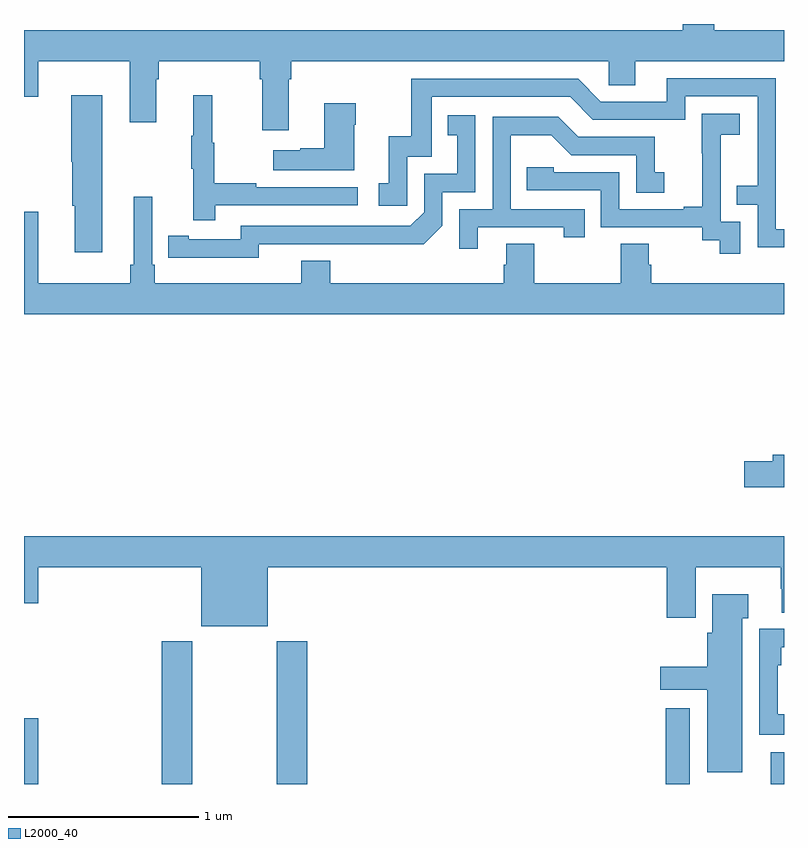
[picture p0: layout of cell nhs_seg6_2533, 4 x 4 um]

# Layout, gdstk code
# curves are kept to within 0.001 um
import gdstk
lib = gdstk.Library(unit=1e-6, precision=1e-09)
def R(c, l, rs):  # rectangles x0, y0, x1, y1
    for r in rs: c.add(gdstk.rectangle(r[:2], r[2:], *l))
def P(c, l, *ps):  # polygons
    for p in ps: c.add(gdstk.Polygon(p, *l))
L2000_40 = (2000, 40)

nhs_seg6_2533 = lib.new_cell('nhs_seg6_2533')
R(nhs_seg6_2533, L2000_40, [(261,975.5,261.076,975.847), (261.725,975.5,261.885,976.252), (262.33,975.5,262.49,976.252), (264.377,975.5,264.505,975.898), (264.929,975.5,265,975.667)])
P(nhs_seg6_2533, L2000_40, [(262.393,979.208),(262.406,979.208),(262.406,979.304),(264.078,979.304),(264.078,979.177),(264.217,979.177),(264.217,979.304),(265,979.304),(265,979.468),(264.632,979.468),(264.632,979.5),(264.467,979.5),(264.467,979.468),(261,979.468),(261,979.116),(261.076,979.116),(261.076,979.304),(261.557,979.304),(261.557,978.984),(261.697,978.984),(261.697,979.208),(261.71,979.208),(261.71,979.304),(262.241,979.304),(262.241,979.208),(262.253,979.208),(262.253,978.942),(262.393,978.942)],
  [(265,978.42),(264.957,978.42),(264.957,979.215),(264.383,979.215),(264.383,979.092),(264.036,979.092),(263.916,979.212),(263.037,979.212),(263.037,978.91),(262.919,978.91),(262.919,978.663),(262.866,978.663),(262.866,978.543),(263.016,978.543),(263.016,978.801),(263.145,978.801),(263.145,979.116),(263.874,979.116),(263.994,978.996),(264.48,978.996),(264.48,979.119),(264.861,979.119),(264.861,978.65),(264.751,978.65),(264.751,978.549),(264.861,978.549),(264.861,978.324),(265,978.324)],
  [(262.007,978.546),(262.756,978.546),(262.756,978.642),(262.223,978.642),(262.223,978.662),(262,978.662),(262,978.876),(261.992,978.876),(261.992,979.126),(261.89,979.126),(261.89,978.913),(261.879,978.913),(261.879,978.739),(261.89,978.739),(261.89,978.468),(262.007,978.468)],
  [(261.412,979.126),(261.248,979.126),(261.248,978.774),(261.254,978.774),(261.254,978.543),(261.266,978.543),(261.266,978.3),(261.412,978.3)],
  [(262.738,978.971),(262.746,978.971),(262.746,979.084),(262.58,979.084),(262.58,978.845),(262.454,978.845),(262.454,978.835),(262.311,978.835),(262.311,978.731),(262.738,978.731)],
  [(264.771,978.459),(264.666,978.459),(264.666,978.689),(264.668,978.689),(264.668,978.917),(264.766,978.917),(264.766,979.027),(264.568,979.027),(264.568,978.821),(264.569,978.821),(264.569,978.538),(264.473,978.538),(264.473,978.525),(264.132,978.525),(264.132,978.72),(263.787,978.72),(263.787,978.747),(263.647,978.747),(263.647,978.624),(264.036,978.624),(264.036,978.429),(264.57,978.429),(264.57,978.361),(264.663,978.361),(264.663,978.291),(264.771,978.291)],
  [(262.236,978.342),(263.104,978.341),(263.202,978.438),(263.202,978.615),(263.376,978.615),(263.376,979.021),(263.23,979.021),(263.23,978.915),(263.279,978.915),(263.279,978.711),(263.106,978.711),(263.106,978.51),(263.034,978.438),(262.14,978.438),(262.14,978.366),(261.868,978.366),(261.868,978.386),(261.76,978.386),(261.76,978.27),(262.236,978.269)],
  [(263.389,978.429),(263.84,978.429),(263.84,978.378),(263.951,978.378),(263.951,978.525),(263.562,978.525),(263.562,978.914),(263.776,978.914),(263.88,978.81),(264.222,978.81),(264.222,978.612),(264.37,978.612),(264.37,978.721),(264.321,978.721),(264.321,978.906),(263.917,978.906),(263.812,979.011),(263.466,979.011),(263.466,978.525),(263.292,978.525),(263.292,978.318),(263.389,978.318)],
  [(265,978.136),(264.302,978.136),(264.302,978.234),(264.289,978.234),(264.289,978.344),(264.142,978.344),(264.142,978.136),(263.685,978.136),(263.685,978.344),(263.537,978.344),(263.537,978.234),(263.525,978.234),(263.525,978.136),(262.613,978.136),(262.613,978.253),(262.46,978.253),(262.46,978.136),(261.689,978.136),(261.689,978.232),(261.675,978.232),(261.675,978.592),(261.578,978.592),(261.578,978.232),(261.559,978.232),(261.559,978.136),(261.076,978.136),(261.076,978.511),(261,978.511),(261,977.972),(265,977.972)],
  [(265,977.234),(264.941,977.234),(264.941,977.198),(264.792,977.198),(264.792,977.063),(265,977.063)],
  [(262.282,976.64),(264.383,976.64),(264.383,976.374),(264.535,976.374),(264.535,976.64),(264.982,976.64),(264.982,976.527),(264.989,976.527),(264.989,976.402),(265,976.402),(265,976.804),(261,976.804),(261,976.452),(261.076,976.452),(261.076,976.64),(261.932,976.64),(261.932,976.331),(262.282,976.331)],
  [(264.781,976.373),(264.811,976.373),(264.811,976.498),(264.623,976.498),(264.623,976.296),(264.596,976.296),(264.596,976.117),(264.348,976.117),(264.348,975.995),(264.596,975.995),(264.596,975.563),(264.781,975.563)],
  [(265,975.868),(264.966,975.868),(264.966,976.124),(264.986,976.124),(264.986,976.22),(265,976.22),(265,976.317),(264.87,976.317),(264.87,975.759),(265,975.759)])

lib.write_gds('nhs_seg6_2533.gds')
